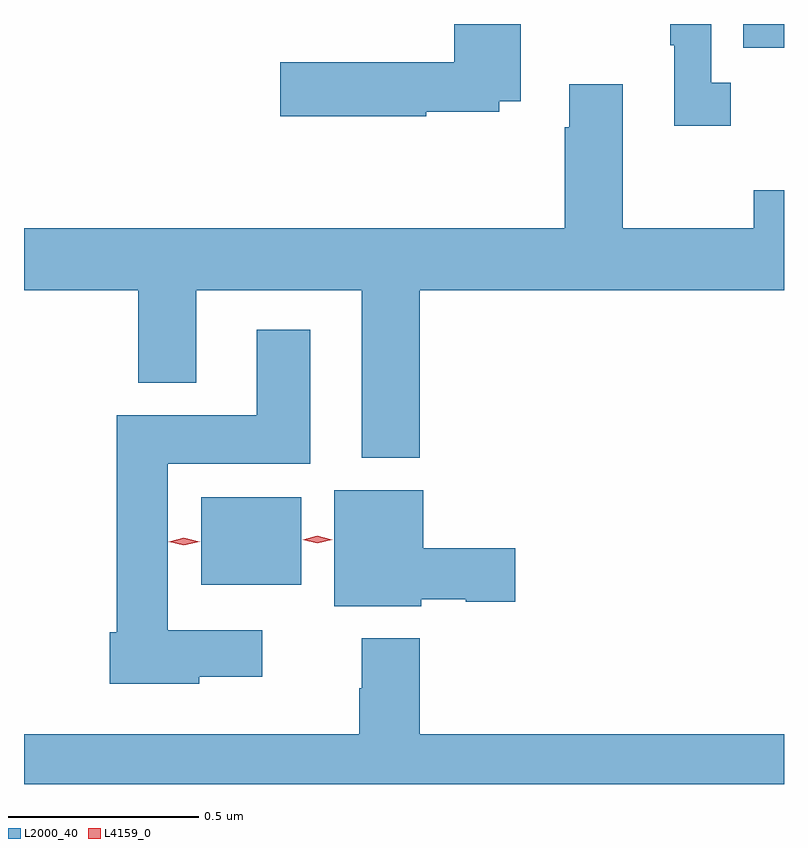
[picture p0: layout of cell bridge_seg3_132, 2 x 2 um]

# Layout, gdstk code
import gdstk
lib = gdstk.Library(unit=1e-6, precision=1e-09)
def R(c, l, rs):  # rectangles x0, y0, x1, y1
    for r in rs: c.add(gdstk.rectangle(r[:2], r[2:], *l))
def P(c, l, *ps):  # polygons
    for p in ps: c.add(gdstk.Polygon(p, *l))
L2000_40 = (2000, 40)
L4159_0 = (4159, 0)

bridge_seg3_132 = lib.new_cell('bridge_seg3_132')
R(bridge_seg3_132, L2000_40, [(362.708,668.174,362.971,668.404), (364.135,669.586,364.242,669.649)])
P(bridge_seg3_132, L2000_40, [(363.3,669.418),(363.492,669.418),(363.492,669.446),(363.549,669.446),(363.549,669.649),(363.374,669.649),(363.374,669.548),(362.916,669.548),(362.916,669.406),(363.3,669.406)],
  [(364.102,669.494),(364.05,669.494),(364.05,669.649),(363.942,669.649),(363.942,669.593),(363.953,669.593),(363.953,669.381),(364.102,669.381)],
  [(363.284,668.948),(364.242,668.948),(364.242,669.211),(364.162,669.211),(364.162,669.112),(363.817,669.112),(363.817,669.49),(363.677,669.49),(363.677,669.377),(363.665,669.377),(363.665,669.112),(362.242,669.112),(362.242,668.948),(362.543,668.948),(362.543,668.705),(362.695,668.705),(362.695,668.948),(363.131,668.948),(363.131,668.507),(363.284,668.507)],
  [(362.703,667.931),(362.869,667.931),(362.869,668.053),(362.62,668.053),(362.62,668.492),(362.995,668.492),(362.995,668.845),(362.855,668.845),(362.855,668.62),(362.486,668.62),(362.486,668.049),(362.468,668.049),(362.468,667.913),(362.703,667.913)],
  [(363.288,668.135),(363.405,668.135),(363.405,668.128),(363.535,668.128),(363.535,668.27),(363.292,668.27),(363.292,668.422),(363.059,668.422),(363.059,668.117),(363.288,668.117)],
  [(364.242,667.78),(363.284,667.78),(363.284,668.032),(363.131,668.032),(363.131,667.901),(363.124,667.901),(363.124,667.78),(362.242,667.78),(362.242,667.649),(364.242,667.649)])
P(bridge_seg3_132, L4159_0, [(363.014,668.282),(362.976,668.292),(362.976,668.292),(362.976,668.292),(363.014,668.302),(363.053,668.292),(363.053,668.292),(363.053,668.292)],
  [(362.663,668.277),(362.623,668.287),(362.623,668.287),(362.623,668.287),(362.663,668.297),(362.704,668.287),(362.704,668.287),(362.704,668.287)])

lib.write_gds('bridge_seg3_132.gds')
